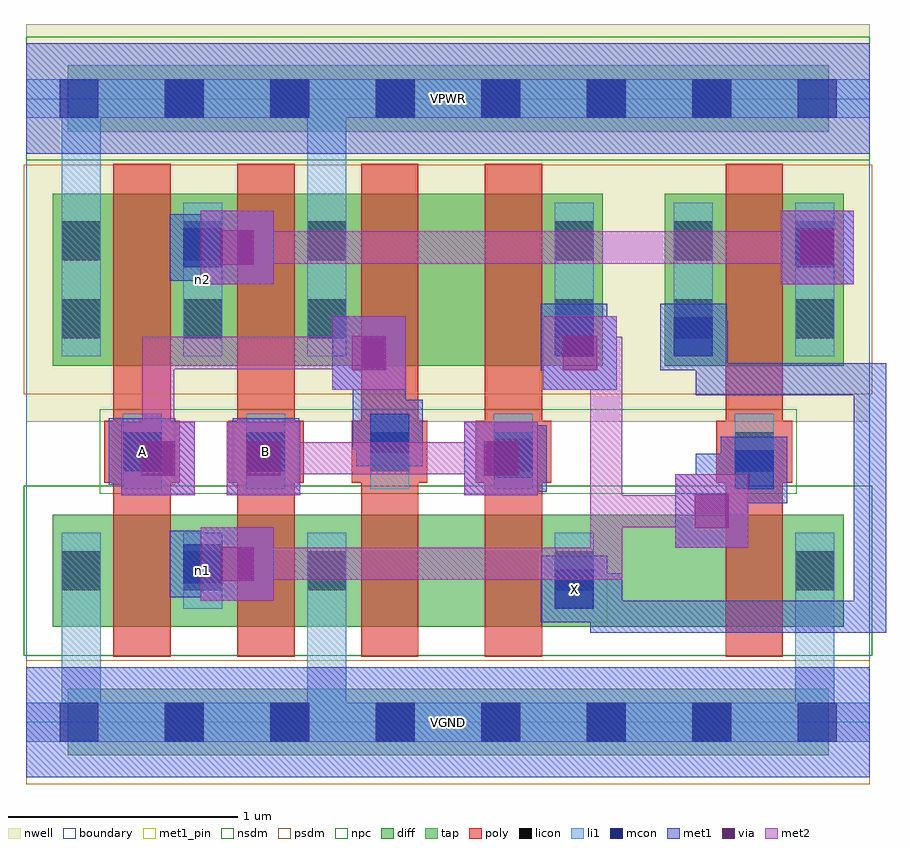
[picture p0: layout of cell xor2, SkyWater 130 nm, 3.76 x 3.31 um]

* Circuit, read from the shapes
.subckt xor2 A B VGND VPWR X n1 n2
XM1 n1 A VGND VGND sky130_fd_pr__nfet_01v8 w=0.49 l=0.25
XM2 VGND B n1 VGND sky130_fd_pr__nfet_01v8 w=0.49 l=0.25
XM3 n3 A VGND VGND sky130_fd_pr__nfet_01v8 w=0.49 l=0.25
XM4 X B n3 VGND sky130_fd_pr__nfet_01v8 w=0.49 l=0.25
XM5 VGND n1 X VGND sky130_fd_pr__nfet_01v8 w=0.49 l=0.25
XM6 n2 A VPWR VPWR sky130_fd_pr__pfet_01v8 w=0.75 l=0.25
XM7 VPWR B n2 VPWR sky130_fd_pr__pfet_01v8 w=0.75 l=0.25
XM8 n4 A VPWR VPWR sky130_fd_pr__pfet_01v8 w=0.75 l=0.25
XM9 n1 B n4 VPWR sky130_fd_pr__pfet_01v8 w=0.75 l=0.25
XM10 n2 n1 X VPWR sky130_fd_pr__pfet_01v8 w=0.75 l=0.25
.ends

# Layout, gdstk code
import gdstk
lib = gdstk.Library(unit=1e-6, precision=1e-09)
def R(c, l, rs):  # rectangles x0, y0, x1, y1
    for r in rs: c.add(gdstk.rectangle(r[:2], r[2:], *l))
def A(c, l, x, y, w, h, nx, ny, dx, dy):  # array of equal rectangles
    R(c, l, [(x+i*dx, y+j*dy, x+i*dx+w, y+j*dy+h) for i in range(nx) for j in range(ny)])
nwell = (64, 20)
diff = (65, 20)
tap = (65, 44)
poly = (66, 20)
licon = (66, 44)
li1 = (67, 20)
mcon = (67, 44)
met1_pin = (68, 16)
met1 = (68, 20)
via = (68, 44)
met2 = (69, 20)
nsdm = (93, 44)
psdm = (94, 20)
npc = (95, 20)
boundary = (235, 4)

xor2 = lib.new_cell('xor2')
R(xor2, nwell, [(0,1.31,3.68,3.045)])
R(xor2, diff, [(0.115,0.415,3.565,0.905), (0.115,1.555,2.515,2.305), (2.785,1.555,3.565,2.305)])
R(xor2, tap, [(0.18,-0.145,3.5,0.145), (0.18,2.575,3.5,2.865)])
A(xor2, poly, 0.38, 0.285, 0.25, 2.15, 4, 1, 0.54, 0)
A(xor2, poly, 0.34, 1.045, 0.33, 0.27, 4, 1, 0.54, 0)
R(xor2, poly, [(3.05,0.285,3.3,2.435), (3.01,1.045,3.34,1.315)])
A(xor2, licon, 0.605, -0.085, 0.17, 0.17, 6, 2, 0.46, 2.72)
A(xor2, licon, 0.42, 1.095, 0.17, 0.17, 4, 1, 0.54, 0)
R(xor2, licon, [(0.155,0.575,0.325,0.745), (0.685,0.575,0.855,0.745), (1.225,0.575,1.395,0.745), (2.305,0.575,2.475,0.745), (3.355,0.575,3.525,0.745), (3.09,1.095,3.26,1.265), (0.155,1.675,0.325,1.845), (0.685,1.675,0.855,1.845), (1.225,1.675,1.395,1.845), (2.305,1.675,2.475,1.845), (2.825,1.675,2.995,1.845), (3.355,1.675,3.525,1.845), (0.155,2.015,0.325,2.185), (0.685,2.015,0.855,2.185), (1.225,2.015,1.395,2.185), (2.305,2.015,2.475,2.185), (2.825,2.015,2.995,2.185), (3.355,2.015,3.525,2.185)])
A(xor2, li1, 0.42, 1.015, 0.17, 0.33, 4, 1, 0.54, 0)
R(xor2, li1, [(0,-0.085,3.68,0.085), (0.155,-0.085,0.325,0.825), (1.225,-0.085,1.395,0.825), (3.355,-0.085,3.525,0.825), (0.155,0.495,0.325,0.825), (0.685,0.495,0.855,0.825), (1.225,0.495,1.395,0.825), (2.305,0.495,2.475,0.825), (3.355,0.495,3.525,0.825), (3.09,1.015,3.26,1.345), (0.155,1.595,0.325,2.265), (0.155,1.595,0.325,2.805), (0.685,1.595,0.855,2.265), (1.225,1.595,1.395,2.265), (1.225,1.595,1.395,2.805), (2.305,1.595,2.475,2.265), (2.825,1.595,2.995,2.265), (3.355,1.595,3.525,2.265), (0,2.635,3.68,2.805)])
A(xor2, mcon, 0.145, -0.085, 0.17, 0.17, 8, 2, 0.46, 2.72)
R(xor2, mcon, [(2.305,0.495,2.475,0.665), (0.685,0.605,0.855,0.775), (3.09,1.015,3.26,1.185), (2.04,1.065,2.21,1.235), (0.42,1.095,0.59,1.265), (0.96,1.095,1.13,1.265), (1.5,1.175,1.67,1.345), (2.305,1.595,2.475,1.765), (2.825,1.595,2.995,1.765), (0.685,1.985,0.855,2.155), (3.355,1.985,3.525,2.155)])
R(xor2, met1_pin, [(0,-0.24,3.68,0.24), (2.245,0.435,2.535,0.725), (0.36,1.035,0.65,1.325), (0.9,1.035,1.19,1.325), (0,2.48,3.68,2.96)])
R(xor2, met1, [(0,-0.24,3.68,0.24), (2.46,0.39,2.6,0.65), (2.46,0.39,3.75,0.53), (3.61,0.39,3.75,1.565), (2.245,0.435,2.535,0.725), (2.32,0.51,2.6,0.65), (0.76,0.53,1.08,0.85), (0.625,0.545,0.915,0.835), (0.7,0.62,0.99,0.76), (2.83,0.76,3.15,1.08), (2.92,0.85,3.06,1.17), (3.03,0.955,3.32,1.245), (0.415,0.99,0.735,1.31), (0.875,0.99,1.195,1.31), (1.91,0.99,2.23,1.31), (1.98,1.005,2.27,1.295), (2.92,1.03,3.245,1.17), (0.36,1.035,0.65,1.325), (0.9,1.035,1.19,1.325), (0.505,1.08,0.645,1.22), (0.965,1.08,1.105,1.22), (2,1.08,2.195,1.22), (1.44,1.115,1.73,1.405), (1.425,1.19,1.565,1.45), (1.425,1.19,1.655,1.33), (1.425,1.31,1.565,1.68), (1.425,1.33,1.655,1.45), (1.44,1.405,1.655,1.45), (2.92,1.425,3.06,1.75), (2.92,1.425,3.75,1.565), (1.335,1.45,1.655,1.77), (2.255,1.45,2.575,1.77), (2.245,1.535,2.535,1.825), (2.765,1.535,3.055,1.825), (2.345,1.54,2.485,1.75), (2.32,1.61,2.485,1.75), (2.84,1.61,3.06,1.75), (0.76,1.91,1.08,2.23), (3.29,1.91,3.61,2.23), (0.625,1.925,0.915,2.215), (3.295,1.925,3.585,2.215), (0.7,2,0.99,2.14), (3.37,2,3.52,2.14), (0,2.48,3.68,2.96)])
R(xor2, via, [(0.845,0.615,0.995,0.765), (2.915,0.845,3.065,0.995), (0.5,1.075,0.65,1.225), (0.96,1.075,1.11,1.225), (1.995,1.075,2.145,1.225), (1.42,1.535,1.57,1.685), (2.34,1.535,2.49,1.685), (0.845,1.995,0.995,2.145), (3.375,1.995,3.525,2.145)])
R(xor2, met2, [(0.76,0.53,1.08,0.85), (0.85,0.62,2.6,0.76), (2.46,0.62,2.6,0.99), (2.83,0.76,3.15,1.08), (2.46,0.85,3.06,0.99), (2.46,0.85,2.6,1.68), (0.415,0.99,0.735,1.31), (0.875,0.99,1.195,1.31), (1.91,0.99,2.23,1.31), (0.505,1.08,0.645,1.68), (0.965,1.08,2.14,1.22), (1.335,1.45,1.655,1.77), (2.255,1.45,2.575,1.77), (0.505,1.54,1.565,1.68), (2.345,1.54,2.6,1.68), (0.76,1.91,1.08,2.23), (3.29,1.91,3.61,2.23), (0.85,2,3.52,2.14)])
R(xor2, nsdm, [(-0.01,0.29,3.69,1.03), (0,2.45,3.68,2.99)])
R(xor2, psdm, [(0,-0.27,3.68,0.27), (-0.01,1.43,3.69,2.43)])
R(xor2, npc, [(0.32,0.995,3.36,1.365)])
R(xor2, boundary, [(0,0,3.68,2.72)])
xor2.add(gdstk.Label('n1', (0.77,0.66), layer=67, texttype=5))
xor2.add(gdstk.Label('n2', (0.77,1.93), layer=67, texttype=5))
xor2.add(gdstk.Label('A', (0.505,1.18), layer=68, texttype=5))
xor2.add(gdstk.Label('B', (1.045,1.18), layer=68, texttype=5))
xor2.add(gdstk.Label('X', (2.39,0.58), layer=68, texttype=5))
xor2.add(gdstk.Label('VPWR', (1.84,2.72), layer=68, texttype=5))
xor2.add(gdstk.Label('VGND', (1.84,0), layer=68, texttype=5))
xor2.add(gdstk.Label('A', (0.505,1.18), layer=68, texttype=16))
xor2.add(gdstk.Label('B', (1.045,1.18), layer=68, texttype=16))
xor2.add(gdstk.Label('X', (2.39,0.58), layer=68, texttype=16))
xor2.add(gdstk.Label('VPWR', (1.84,2.72), layer=68, texttype=16))
xor2.add(gdstk.Label('VGND', (1.84,0), layer=68, texttype=16))

lib.write_gds('xor2.gds')
